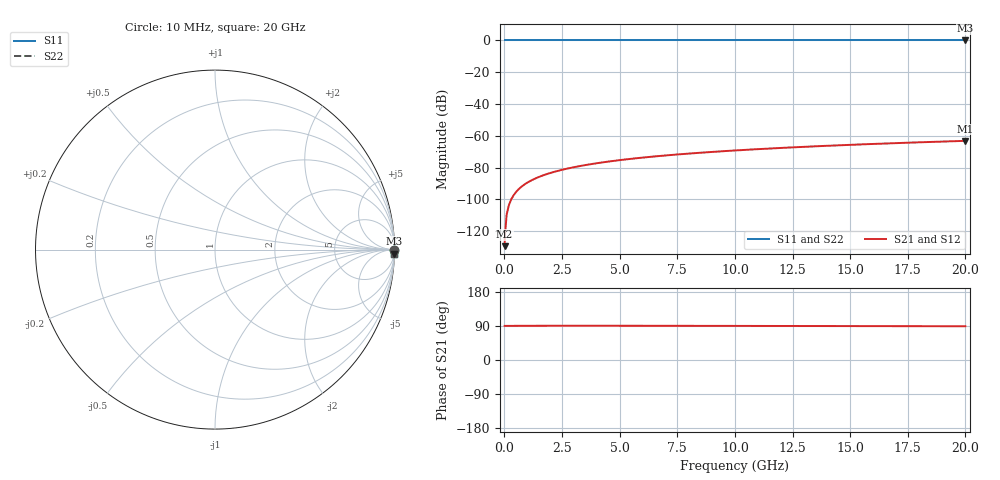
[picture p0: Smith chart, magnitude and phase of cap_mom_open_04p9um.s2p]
#  GHZ S DB R 50
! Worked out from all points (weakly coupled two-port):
!   202 points, 10 MHz to 20 GHz, reference 50 ohm
!   highest |S21| = -63.15 dB at 20 GHz (marker M1); lowest = -129.4 dB at 10 MHz (marker M2)
!   lowest |S11| = 0.0 dB at 20 GHz (marker M3)
!   |S11| at or under -10 dB: nowhere
!   |S22| runs from 0.0 to 0.0 dB; largest |S21 - S12| = 3.3e-15
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0.01  -0.00 -0.0  -129.40 90.0  -129.40 90.0  -0.00 -0.0
2.9  -0.00 -0.2  -80.07 90.5  -80.07 90.5  -0.00 -0.2
3  -0.00 -0.2  -79.77 90.5  -79.77 90.5  -0.00 -0.2
3.4  -0.00 -0.2  -78.67 90.5  -78.67 90.5  -0.00 -0.2
3.7  -0.00 -0.2  -77.93 90.5  -77.93 90.5  -0.00 -0.2
4.1  -0.00 -0.3  -77.02 90.5  -77.02 90.5  -0.00 -0.3
4.5  -0.00 -0.3  -76.21 90.5  -76.21 90.5  -0.00 -0.3
4.9  -0.00 -0.3  -75.46 90.4  -75.46 90.4  -0.00 -0.3
5.3  -0.00 -0.3  -74.77 90.4  -74.77 90.4  -0.00 -0.3
5.8  -0.00 -0.4  -73.97 90.4  -73.97 90.4  -0.00 -0.4
6.7  -0.00 -0.4  -72.71 90.3  -72.71 90.3  -0.00 -0.4
7.5  -0.00 -0.5  -71.72 90.2  -71.72 90.2  -0.00 -0.5
8.3  -0.00 -0.5  -70.83 90.1  -70.83 90.1  -0.00 -0.5
9.2  -0.00 -0.6  -69.93 90.0  -69.93 90.0  -0.00 -0.6
10.1  -0.00 -0.6  -69.11 89.9  -69.11 89.9  -0.00 -0.6
10.9  -0.00 -0.7  -68.44 89.8  -68.44 89.8  -0.00 -0.7
11.7  -0.00 -0.7  -67.82 89.8  -67.82 89.8  -0.00 -0.7
13.4  -0.00 -0.8  -66.64 89.6  -66.64 89.6  -0.00 -0.8
15  -0.00 -0.9  -65.66 89.5  -65.66 89.5  -0.00 -0.9
16.7  -0.00 -1.1  -64.72 89.3  -64.72 89.3  -0.00 -1.1
18.3  -0.00 -1.2  -63.92 89.2  -63.92 89.2  -0.00 -1.2
20  -0.00 -1.3  -63.15 89.1  -63.15 89.1  -0.00 -1.3
